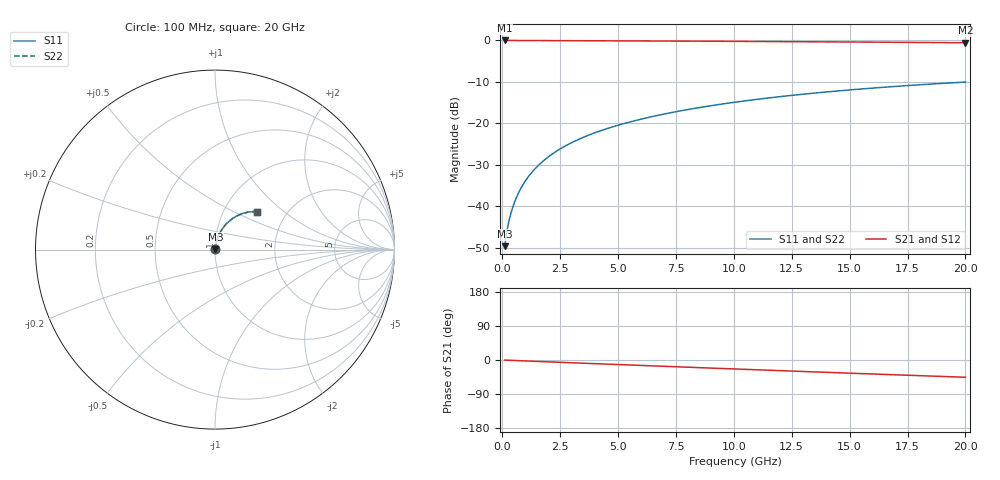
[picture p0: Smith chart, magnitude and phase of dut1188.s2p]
! Touchstone file exported from HFSS 2026.1.0
!  File:  C:/ffzhzh/LocalFiles/Ansys_Project_Files/temp_train_BSMRDL_1188_1783176253_22436.aedt
!  Generated:  10:45:36 PM Jul  4, 2026
!  Design:  BSMRDL
!  Project:  temp_train_BSMRDL_1188_1783176253_22436
! Variables:
!  h_bsmrdl = 5.56um
!  h_ox = 20um
!  h_rdl = 5um
!  h_sub = 80um
!  h_tmrdl = 5um
!  h_tsv = 80um
!  h_via = 3um
!  l_bsmrdl = 741.43um
!  l_sub = 1141.43um
!  l_tmrdl = 200um
!  m_sub = 200um
!  pitch = 39.31um
!  r_tsv = 6um
!  s_tmrdl = 10um
!  w_bsmrdl = 21.01um
!  w_sub = 500um
!  w_tmrdl = 12um
!  x_tsv_center1 = 206um
!  x_tsv_center2 = 968.44um
!  x_tsv_center3 = 1180.44um
!  x_tsv_center4 = 1942.88um
!  x_tsv_center5 = 2154.88um
!  x_tsv_center6 = 2917.32um
# GHz S MA R 50.000000
! Terminal data exported
! Port[1] = BSM_RDL1_1_T1
! Port[2] = BSM_RDL1_1_T2
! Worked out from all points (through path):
!   200 points, 100 MHz to 20 GHz, reference 50 ohm
!   highest |S21| = -0.02 dB at 100 MHz (marker M1); lowest = -0.6 dB at 20 GHz (marker M2)
!   group delay of S21, straight-line fit = 6.32 ps
!   lowest |S11| = -49.6 dB at 100 MHz (marker M3), VSWR 1.01, Z = 50.2 + j0.225 ohm
!   |S11| at or under -10 dB: start of sweep to end of sweep
!   |S22| runs from -49.6 to -10.0 dB; largest |S21 - S12| = 2.7e-14
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0.1  0.003312 42.5  0.9976 -0.3  0.9976 -0.3  0.003312 42.5
! Gamma 0 0 0 0
! Port Impedance 50 0 50 0
0.2  0.005075 58.3  0.9974 -0.5  0.9974 -0.5  0.005075 58.3
0.3  0.006918 65.5  0.9972 -0.8  0.9972 -0.8  0.006918 65.5
0.4  0.008783 69.8  0.9971 -1.0  0.9971 -1.0  0.008783 69.8
0.5  0.01067 72.6  0.997 -1.2  0.997 -1.2  0.01067 72.6
0.6  0.01258 74.5  0.9969 -1.5  0.9969 -1.5  0.01258 74.5
0.8  0.01643 76.9  0.9967 -2.0  0.9967 -2.0  0.01643 76.9
1.1  0.02226 78.6  0.9964 -2.7  0.9964 -2.7  0.02226 78.6
1.5  0.03003 79.3  0.9959 -3.7  0.9959 -3.7  0.03003 79.3
1.8  0.03583 79.3  0.9955 -4.4  0.9955 -4.4  0.03583 79.3
2.1  0.04159 79.1  0.995 -5.1  0.995 -5.1  0.04159 79.1
2.7  0.05298 78.2  0.9938 -6.6  0.9938 -6.6  0.05298 78.2
3.5  0.06787 76.8  0.9921 -8.5  0.9921 -8.5  0.06787 76.8
4.2  0.08064 75.4  0.9905 -10.2  0.9905 -10.2  0.08064 75.4
5  0.09497 73.7  0.9885 -12.1  0.9885 -12.1  0.09497 73.8
5.9  0.1108 71.9  0.9862 -14.2  0.9862 -14.2  0.1108 71.9
6.8  0.1263 70.0  0.9837 -16.3  0.9837 -16.3  0.1263 70.0
8.3  0.1515 66.8  0.9793 -19.7  0.9793 -19.7  0.1515 66.8
10.1  0.1807 63.0  0.9735 -23.8  0.9735 -23.8  0.1807 63.0
13.4  0.2305 56.0  0.9618 -31.3  0.9618 -31.3  0.2305 56.0
16.7  0.2753 49.0  0.9493 -38.5  0.9493 -38.5  0.2753 49.1
20  0.3145 42.2  0.9365 -45.6  0.9365 -45.6  0.3145 42.2
